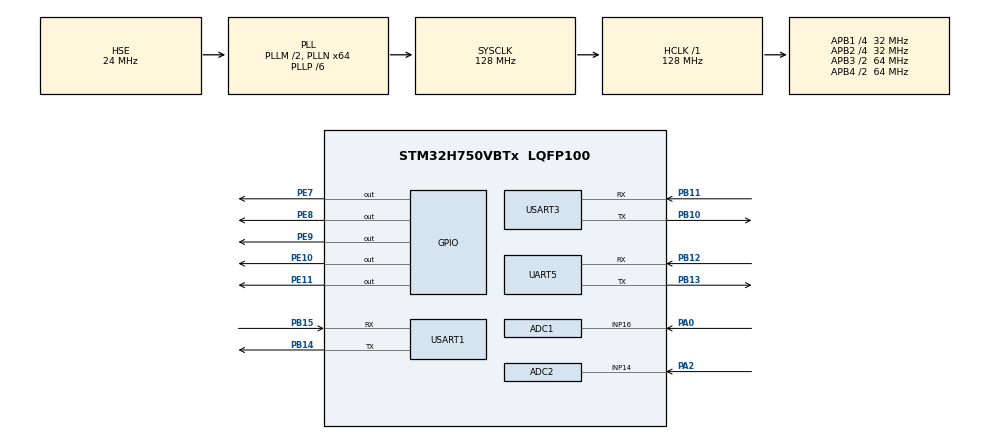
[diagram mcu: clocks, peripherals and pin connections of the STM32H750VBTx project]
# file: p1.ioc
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ADC1.Channel-1\#ChannelRegularConversion=ADC_CHANNEL_16
ADC1.ClockPrescaler=ADC_CLOCK_ASYNC_DIV4
ADC1.ConversionDataManagement=ADC_CONVERSIONDATA_DMA_ONESHOT
ADC1.ExternalTrigConv=ADC_EXTERNALTRIG_T2_TRGO
ADC1.NbrOfConversionFlag=1
ADC1.OffsetNumber-1\#ChannelRegularConversion=ADC_OFFSET_NONE
ADC1.OffsetSignedSaturation-1\#ChannelRegularConversion=DISABLE
ADC1.Rank-1\#ChannelRegularConversion=1
ADC1.Resolution=ADC_RESOLUTION_12B
ADC1.SamplingTime-1\#ChannelRegularConversion=ADC_SAMPLETIME_1CYCLE_5
ADC1.master=1
ADC2.Channel-0\#ChannelRegularConversion=ADC_CHANNEL_14
ADC2.ClockPrescaler=ADC_CLOCK_ASYNC_DIV4
ADC2.ConversionDataManagement=ADC_CONVERSIONDATA_DMA_ONESHOT
ADC2.ExternalTrigConv=ADC_EXTERNALTRIG_T2_TRGO
ADC2.NbrOfConversionFlag=1
ADC2.OffsetNumber-0\#ChannelRegularConversion=ADC_OFFSET_NONE
ADC2.OffsetSignedSaturation-0\#ChannelRegularConversion=DISABLE
ADC2.Rank-0\#ChannelRegularConversion=1
ADC2.Resolution=ADC_RESOLUTION_12B
ADC2.SamplingTime-0\#ChannelRegularConversion=ADC_SAMPLETIME_1CYCLE_5
CORTEX_M7.default_mode_Activation=1
Dma.ADC1.1.Direction=DMA_PERIPH_TO_MEMORY
Dma.ADC1.1.EventEnable=DISABLE
Dma.ADC1.1.FIFOMode=DMA_FIFOMODE_DISABLE
Dma.ADC1.1.Instance=DMA1_Stream0
Dma.ADC1.1.MemDataAlignment=DMA_MDATAALIGN_HALFWORD
Dma.ADC1.1.MemInc=DMA_MINC_ENABLE
Dma.ADC1.1.Mode=DMA_NORMAL
Dma.ADC1.1.PeriphDataAlignment=DMA_PDATAALIGN_HALFWORD
Dma.ADC1.1.PeriphInc=DMA_PINC_DISABLE
Dma.ADC1.1.Polarity=HAL_DMAMUX_REQ_GEN_RISING
Dma.ADC1.1.Priority=DMA_PRIORITY_LOW
Dma.ADC1.1.RequestNumber=1
Dma.ADC1.1.SignalID=NONE
Dma.ADC1.1.SyncEnable=DISABLE
Dma.ADC1.1.SyncPolarity=HAL_DMAMUX_SYNC_NO_EVENT
Dma.ADC1.1.SyncRequestNumber=1
Dma.ADC1.1.SyncSignalID=NONE
Dma.ADC2.0.Direction=DMA_PERIPH_TO_MEMORY
Dma.ADC2.0.EventEnable=DISABLE
Dma.ADC2.0.FIFOMode=DMA_FIFOMODE_DISABLE
Dma.ADC2.0.Instance=DMA1_Stream1
Dma.ADC2.0.MemDataAlignment=DMA_MDATAALIGN_HALFWORD
Dma.ADC2.0.MemInc=DMA_MINC_ENABLE
Dma.ADC2.0.Mode=DMA_NORMAL
Dma.ADC2.0.PeriphDataAlignment=DMA_PDATAALIGN_HALFWORD
Dma.ADC2.0.PeriphInc=DMA_PINC_DISABLE
Dma.ADC2.0.Polarity=HAL_DMAMUX_REQ_GEN_RISING
Dma.ADC2.0.Priority=DMA_PRIORITY_LOW
Dma.ADC2.0.RequestNumber=1
Dma.ADC2.0.SignalID=NONE
Dma.ADC2.0.SyncEnable=DISABLE
Dma.ADC2.0.SyncPolarity=HAL_DMAMUX_SYNC_NO_EVENT
Dma.ADC2.0.SyncRequestNumber=1
Dma.ADC2.0.SyncSignalID=NONE
Dma.Request0=ADC2
Dma.Request1=ADC1
Mcu.Family=STM32H7
Mcu.Name=STM32H750VBTx
Mcu.Package=LQFP100
NVIC.DMA1_Stream0_IRQn=true\:0\:0\:false\:false\:true\:false\:true\:true
NVIC.DMA1_Stream1_IRQn=true\:0\:0\:false\:false\:true\:false\:true\:true
NVIC.PriorityGroup=NVIC_PRIORITYGROUP_4
NVIC.USART3_IRQn=true\:0\:0\:false\:false\:true\:true\:true\:true
PA0.Mode=IN16-Single-Ended
PA0.Signal=ADC1_INP16
PA13\ (JTMS/SWDIO).Mode=Serial_Wire
PA13\ (JTMS/SWDIO).Signal=DEBUG_JTMS-SWDIO
PA14\ (JTCK/SWCLK).Mode=Serial_Wire
PA14\ (JTCK/SWCLK).Signal=DEBUG_JTCK-SWCLK
PA2.Signal=ADCx_INP14
PB10.Mode=Asynchronous
PB10.Signal=USART3_TX
PB11.Mode=Asynchronous
PB11.Signal=USART3_RX
PB12.Mode=Asynchronous
PB12.Signal=UART5_RX
PB13.Mode=Asynchronous
PB13.Signal=UART5_TX
PB14.Mode=Asynchronous
PB14.Signal=USART1_TX
PB15.Mode=Asynchronous
PB15.Signal=USART1_RX
PE10.GPIO_ModeDefaultOutputPP=GPIO_MODE_OUTPUT_PP
PE10.GPIO_PuPd=GPIO_NOPULL
PE10.GPIO_Speed=GPIO_SPEED_FREQ_HIGH
PE10.PinState=GPIO_PIN_RESET
PE10.Signal=GPIO_Output
PE11.GPIO_ModeDefaultOutputPP=GPIO_MODE_OUTPUT_PP
PE11.GPIO_PuPd=GPIO_NOPULL
PE11.GPIO_Speed=GPIO_SPEED_FREQ_HIGH
PE11.PinState=GPIO_PIN_RESET
PE11.Signal=GPIO_Output
PE7.GPIO_ModeDefaultOutputPP=GPIO_MODE_OUTPUT_PP
PE7.GPIO_PuPd=GPIO_NOPULL
PE7.GPIO_Speed=GPIO_SPEED_FREQ_HIGH
PE7.PinState=GPIO_PIN_RESET
PE7.Signal=GPIO_Output
PE8.GPIO_ModeDefaultOutputPP=GPIO_MODE_OUTPUT_PP
PE8.GPIO_PuPd=GPIO_NOPULL
PE8.GPIO_Speed=GPIO_SPEED_FREQ_HIGH
PE8.PinState=GPIO_PIN_RESET
PE8.Signal=GPIO_Output
PE9.GPIO_ModeDefaultOutputPP=GPIO_MODE_OUTPUT_PP
PE9.GPIO_PuPd=GPIO_NOPULL
PE9.GPIO_Speed=GPIO_SPEED_FREQ_HIGH
PE9.PinState=GPIO_PIN_RESET
PE9.Signal=GPIO_Output
PH0-OSC_IN\ (PH0).Mode=HSE-External-Oscillator
PH0-OSC_IN\ (PH0).Signal=RCC_OSC_IN
PH1-OSC_OUT\ (PH1).Mode=HSE-External-Oscillator
PH1-OSC_OUT\ (PH1).Signal=RCC_OSC_OUT
ProjectManager.HeapSize=0x200
ProjectManager.StackSize=0x400
ProjectManager.TargetToolchain=MDK-ARM V5.32
RCC.ADCFreq_Value=75000000
RCC.APB1Freq_Value=32000000
RCC.APB2Freq_Value=32000000
RCC.APB3Freq_Value=64000000
RCC.APB4Freq_Value=64000000
RCC.CortexFreq_Value=128000000
RCC.D1PPRE=RCC_APB3_DIV2
RCC.D2PPRE1=RCC_APB1_DIV4
RCC.D2PPRE2=RCC_APB2_DIV4
RCC.D3PPRE=RCC_APB4_DIV2
RCC.DIVM1=2
RCC.DIVM2=2
RCC.DIVN1=64
RCC.DIVN2=25
RCC.DIVP1=6
RCC.DIVP2=4
RCC.DIVQ2=4
RCC.DIVR1=12
RCC.EnableLSERTC-ClockTree=true
RCC.HCLKFreq_Value=128000000
RCC.HSE_VALUE=24000000
RCC.PLL2FRACN=0
RCC.PLL3_VCO_SEL-AdvancedSettings=RCC_PLL3VCOMEDIUM
RCC.PLLFRACN=0
RCC.PLLSourceVirtual=RCC_PLLSOURCE_HSE
RCC.SDMMC1Enable-ClockTree=true
RCC.SPI123Enable-ClockTree=true
RCC.SYSCLKFreq_VALUE=128000000
RCC.SYSCLKSource=RCC_SYSCLKSOURCE_PLLCLK
RCC.USBFreq_Value=384000000
SH.ADCx_INP14.0=ADC2_INP14,IN14-Single-Ended
TIM2.Period=80-1
TIM2.Prescaler=25-1
TIM2.TIM_MasterOutputTrigger=TIM_TRGO_UPDATE
USART1.VirtualMode-Asynchronous=VM_ASYNC
USART3.VirtualMode-Asynchronous=VM_ASYNC
VP_MEMORYMAP_VS_MEMORYMAP.Mode=CurAppReg
VP_TIM2_VS_ClockSourceINT.Mode=Internal
board=custom

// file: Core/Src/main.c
/* USER CODE BEGIN Header */
/**
 ******************************************************************************
 * @file           : main.c
 * @brief          : Main program body
 ******************************************************************************
 * @attention
 *
 * Copyright (c) 2026 STMicroelectronics.
 * All rights reserved.
 *
 * This software is licensed under terms that can be found in the LICENSE file
 * in the root directory of this software component.
 * If no LICENSE file comes with this software, it is provided AS-IS.
 *
 ******************************************************************************
 */
/* USER CODE END Header */
#include "main.h"
#include "adc.h"
#include "dma.h"
#include "gpio.h"
#include "tim.h"
#include "usart.h"

/* USER CODE BEGIN Includes */
#include "AD9959.h"
#include "fun.h"
#include "lcd.h"
#define N 1024
#define mpi 3.1415926

/* USER CODE END Includes */

/* USER CODE BEGIN PTD */
volatile uint8_t adc1_flag = 0;
volatile uint8_t adc2_flag = 0;
uint16_t adc1_value[N], adc2_value[N];
uint16_t max1, max2, avg1, avg2;
float xc, c;
/* USER CODE END PTD */

void SystemClock_Config(void);
void PeriphCommonClock_Config(void);
static void MPU_Config(void);

int main(void) {

  /* MPU Configuration--------------------------------------------------------*/
  MPU_Config();

  /* MCU Configuration--------------------------------------------------------*/

  /* Reset of all peripherals, Initializes the Flash interface and the Systick.
   */
  HAL_Init();

  /* Configure the system clock */
  SystemClock_Config();

  /* Configure the peripherals common clocks */
  PeriphCommonClock_Config();

  /* Initialize all configured peripherals */
  MX_GPIO_Init();
  MX_DMA_Init();
  MX_ADC1_Init();
  MX_TIM2_Init();
  MX_USART1_UART_Init();
  MX_ADC2_Init();
  MX_UART5_Init();
  MX_USART3_UART_Init();
  /* USER CODE BEGIN 2 */
  AD9959_Init();
  initRingBuffer();
  HAL_UART_Receive_IT(&huart3, RxBuffer, 1);

  Write_frequence(0, 3000);
  Write_Amplitude(0, 1023);

	Write_frequence(1, 3000);
  Write_Amplitude(1, 1023);

  /*
  HAL_ADCEx_Calibration_Start(&hadc1, ADC_CALIB_OFFSET, ADC_SINGLE_ENDED);
  HAL_ADCEx_Calibration_Start(&hadc2, ADC_CALIB_OFFSET, ADC_SINGLE_ENDED);

  HAL_ADC_Start_DMA(&hadc1, (uint32_t *)adc1_value, N);
  HAL_ADC_Start_DMA(&hadc2, (uint32_t *)adc2_value, N);
  HAL_TIM_Base_Start(&htim2);
  while (adc1_flag == 0 && adc2_flag == 0)
    ;
  adc1_flag = 0;
  adc2_flag = 0;
  max1 = findMax_uint16(adc1_value, N);
  max2 = findMax_uint16(adc2_value, N);
  avg1 = findAverage_uint16(adc1_value, N);
  avg2 = findAverage_uint16(adc2_value, N);
  // Uart_printf(&huart1,"max = %d\r\n",max);
  Uart_printf(&huart1, "max1 = %d\r\n", max1);
  Uart_printf(&huart1, "max2 = %d\r\n", max2);

  Uart_printf(&huart1, "avg1 = %d\r\n", avg1);
  Uart_printf(&huart1, "avg2 = %d\r\n", avg2);
  xc = (2800.0f * max1) / (float)max2;
  c = 1000000000.0f / (2 * mpi * 7000 * xc);
  Uart_printf(&huart1, "xc = %f\n", xc);
  Uart_printf(&huart1, "c = %f\n", c);

  for (int i = 0; i < N; i++) {
    Uart_printf(&huart1, "%d\n", adc2_value[i]);
  } */
  /* USER CODE END 2 */

  /* Infinite loop */
  while (1) {
    process();
  }
}

void SystemClock_Config(void) {
  RCC_OscInitTypeDef RCC_OscInitStruct = {0};
  RCC_ClkInitTypeDef RCC_ClkInitStruct = {0};

  /** Supply configuration update enable
   */
  HAL_PWREx_ConfigSupply(PWR_LDO_SUPPLY);

  /** Configure the main internal regulator output voltage
   */
  __HAL_PWR_VOLTAGESCALING_CONFIG(PWR_REGULATOR_VOLTAGE_SCALE3);

  while (!__HAL_PWR_GET_FLAG(PWR_FLAG_VOSRDY)) {
  }

  /** Initializes the RCC Oscillators according to the specified parameters
   * in the RCC_OscInitTypeDef structure.
   */
  RCC_OscInitStruct.OscillatorType = RCC_OSCILLATORTYPE_HSE;
  RCC_OscInitStruct.HSEState = RCC_HSE_ON;
  RCC_OscInitStruct.PLL.PLLState = RCC_PLL_ON;
  RCC_OscInitStruct.PLL.PLLSource = RCC_PLLSOURCE_HSE;
  RCC_OscInitStruct.PLL.PLLM = 2;
  RCC_OscInitStruct.PLL.PLLN = 64;
  RCC_OscInitStruct.PLL.PLLP = 6;
  RCC_OscInitStruct.PLL.PLLQ = 2;
  RCC_OscInitStruct.PLL.PLLR = 12;
  RCC_OscInitStruct.PLL.PLLRGE = RCC_PLL1VCIRANGE_3;
  RCC_OscInitStruct.PLL.PLLVCOSEL = RCC_PLL1VCOWIDE;
  RCC_OscInitStruct.PLL.PLLFRACN = 0;
  if (HAL_RCC_OscConfig(&RCC_OscInitStruct) != HAL_OK) {
    Error_Handler();
  }

  /** Initializes the CPU, AHB and APB buses clocks
   */
  RCC_ClkInitStruct.ClockType = RCC_CLOCKTYPE_HCLK | RCC_CLOCKTYPE_SYSCLK |
                                RCC_CLOCKTYPE_PCLK1 | RCC_CLOCKTYPE_PCLK2 |
                                RCC_CLOCKTYPE_D3PCLK1 | RCC_CLOCKTYPE_D1PCLK1;
  RCC_ClkInitStruct.SYSCLKSource = RCC_SYSCLKSOURCE_PLLCLK;
  RCC_ClkInitStruct.SYSCLKDivider = RCC_SYSCLK_DIV1;
  RCC_ClkInitStruct.AHBCLKDivider = RCC_HCLK_DIV1;
  RCC_ClkInitStruct.APB3CLKDivider = RCC_APB3_DIV2;
  RCC_ClkInitStruct.APB1CLKDivider = RCC_APB1_DIV4;
  RCC_ClkInitStruct.APB2CLKDivider = RCC_APB2_DIV4;
  RCC_ClkInitStruct.APB4CLKDivider = RCC_APB4_DIV2;

  if (HAL_RCC_ClockConfig(&RCC_ClkInitStruct, FLASH_LATENCY_2) != HAL_OK) {
    Error_Handler();
  }
}

void PeriphCommonClock_Config(void) {
  RCC_PeriphCLKInitTypeDef PeriphClkInitStruct = {0};

  /** Initializes the peripherals clock
   */
  PeriphClkInitStruct.PeriphClockSelection = RCC_PERIPHCLK_ADC;
  PeriphClkInitStruct.PLL2.PLL2M = 2;
  PeriphClkInitStruct.PLL2.PLL2N = 25;
  PeriphClkInitStruct.PLL2.PLL2P = 4;
  PeriphClkInitStruct.PLL2.PLL2Q = 4;
  PeriphClkInitStruct.PLL2.PLL2R = 2;
  PeriphClkInitStruct.PLL2.PLL2RGE = RCC_PLL2VCIRANGE_3;
  PeriphClkInitStruct.PLL2.PLL2VCOSEL = RCC_PLL2VCOWIDE;
  PeriphClkInitStruct.PLL2.PLL2FRACN = 0;
  PeriphClkInitStruct.AdcClockSelection = RCC_ADCCLKSOURCE_PLL2;
  if (HAL_RCCEx_PeriphCLKConfig(&PeriphClkInitStruct) != HAL_OK) {
    Error_Handler();
  }
}

/* USER CODE BEGIN 4 */
void HAL_ADC_ConvCpltCallback(ADC_HandleTypeDef *hadc) {
  if (hadc->Instance == ADC1) {
    adc1_flag = 1;
  }
  if (hadc->Instance == ADC2) {
    adc2_flag = 1;
  }
}
/* USER CODE END 4 */

/* MPU Configuration */

void MPU_Config(void) {
  MPU_Region_InitTypeDef MPU_InitStruct = {0};

  /* Disables the MPU */
  HAL_MPU_Disable();

  /** Initializes and configures the Region and the memory to be protected
   */
  MPU_InitStruct.Enable = MPU_REGION_ENABLE;
  MPU_InitStruct.Number = MPU_REGION_NUMBER0;
  MPU_InitStruct.BaseAddress = 0x0;
  MPU_InitStruct.Size = MPU_REGION_SIZE_4GB;
  MPU_InitStruct.SubRegionDisable = 0x87;
  MPU_InitStruct.TypeExtField = MPU_TEX_LEVEL0;
  MPU_InitStruct.AccessPermission = MPU_REGION_NO_ACCESS;
  MPU_InitStruct.DisableExec = MPU_INSTRUCTION_ACCESS_DISABLE;
  MPU_InitStruct.IsShareable = MPU_ACCESS_SHAREABLE;
  MPU_InitStruct.IsCacheable = MPU_ACCESS_NOT_CACHEABLE;
  MPU_InitStruct.IsBufferable = MPU_ACCESS_NOT_BUFFERABLE;

  HAL_MPU_ConfigRegion(&MPU_InitStruct);
  /* Enables the MPU */
  HAL_MPU_Enable(MPU_PRIVILEGED_DEFAULT);
}

void Error_Handler(void) {
  __disable_irq();
  while (1) {
  }
}
#ifdef USE_FULL_ASSERT
/**
 * @brief  Reports the name of the source file and the source line number
 *         where the assert_param error has occurred.
 * @param  file: pointer to the source file name
 * @param  line: assert_param error line source number
 * @retval None
 */
void assert_failed(uint8_t *file, uint32_t line) {
  /* USER CODE BEGIN 6 */
  /* User can add his own implementation to report the file name and line
     number, ex: printf("Wrong parameters value: file %s on line %d\r\n", file,
     line) */
  /* USER CODE END 6 */
}
#endif /* USE_FULL_ASSERT */
